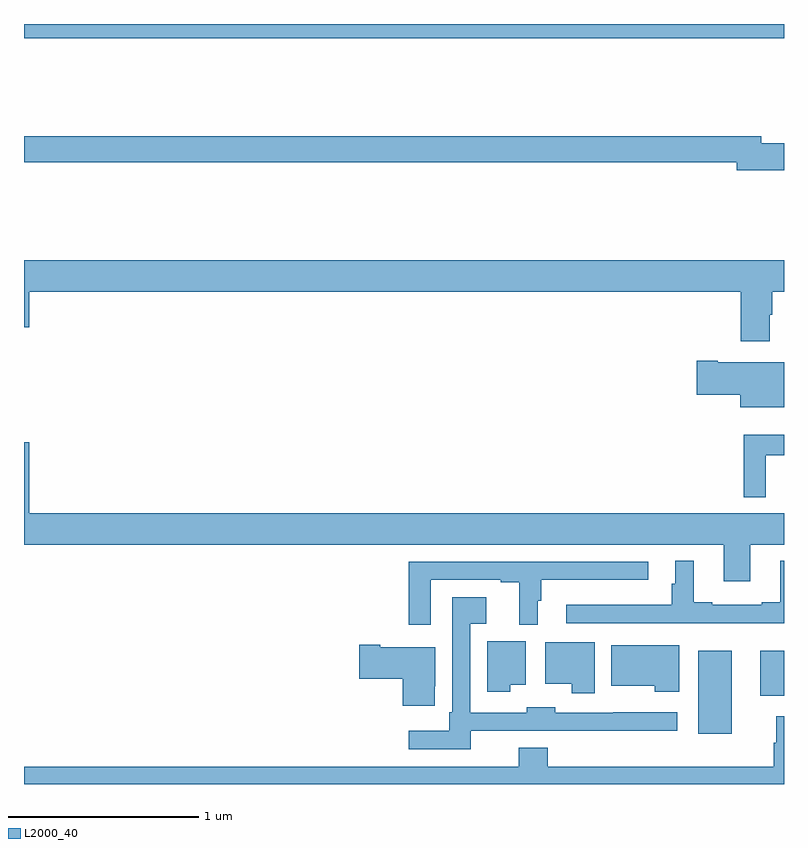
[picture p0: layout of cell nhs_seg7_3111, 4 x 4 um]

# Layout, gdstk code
import gdstk
lib = gdstk.Library(unit=1e-6, precision=1e-09)
def R(c, l, rs):  # rectangles x0, y0, x1, y1
    for r in rs: c.add(gdstk.rectangle(r[:2], r[2:], *l))
def P(c, l, *ps):  # polygons
    for p in ps: c.add(gdstk.Polygon(p, *l))
L2000_40 = (2000, 40)

nhs_seg7_3111 = lib.new_cell('nhs_seg7_3111')
R(nhs_seg7_3111, L2000_40, [(312.548,1022.264,312.724,1022.701), (312.875,1022.465,313,1022.701), (309,1025.924,313,1026)])
P(nhs_seg7_3111, L2000_40, [(313,1025.372),(312.88,1025.372),(312.88,1025.408),(309,1025.408),(309,1025.272),(312.752,1025.272),(312.752,1025.23),(313,1025.23)],
  [(312.925,1024.469),(312.938,1024.469),(312.938,1024.592),(313,1024.592),(313,1024.756),(309,1024.756),(309,1024.404),(309.028,1024.404),(309.028,1024.592),(312.773,1024.592),(312.773,1024.329),(312.925,1024.329)],
  [(313,1024.219),(312.652,1024.219),(312.652,1024.227),(312.54,1024.227),(312.54,1024.049),(312.77,1024.049),(312.77,1023.983),(313,1023.983)],
  [(312.904,1023.729),(313,1023.729),(313,1023.838),(312.787,1023.838),(312.787,1023.509),(312.904,1023.509)],
  [(312.823,1023.26),(313,1023.26),(313,1023.424),(309.028,1023.424),(309.028,1023.799),(309,1023.799),(309,1023.26),(312.683,1023.26),(312.683,1023.066),(312.823,1023.066)],
  [(313,1023.175),(312.98,1023.175),(312.98,1022.956),(312.884,1022.956),(312.884,1022.943),(312.622,1022.943),(312.622,1022.956),(312.526,1022.956),(312.526,1023.175),(312.428,1023.175),(312.428,1023.054),(312.409,1023.054),(312.409,1022.944),(311.853,1022.944),(311.853,1022.847),(312.552,1022.847),(312.552,1022.846),(313,1022.846)],
  [(311.142,1023.075),(311.51,1023.075),(311.51,1023.063),(311.606,1023.063),(311.606,1022.838),(311.704,1022.838),(311.704,1022.964),(311.723,1022.964),(311.723,1023.074),(312.286,1023.074),(312.286,1023.171),(311.026,1023.171),(311.026,1022.838),(311.142,1022.838)],
  [(311.352,1022.279),(312.439,1022.279),(312.439,1022.377),(312.1,1022.377),(312.1,1022.376),(311.796,1022.376),(311.796,1022.404),(311.646,1022.404),(311.646,1022.376),(311.349,1022.376),(311.349,1022.843),(311.434,1022.843),(311.434,1022.983),(311.253,1022.983),(311.253,1022.377),(311.237,1022.377),(311.237,1022.281),(311.025,1022.281),(311.025,1022.184),(311.352,1022.184)],
  [(311.56,1022.522),(311.641,1022.522),(311.641,1022.752),(311.438,1022.752),(311.438,1022.486),(311.56,1022.486)],
  [(312.004,1022.746),(311.744,1022.746),(311.744,1022.528),(311.882,1022.528),(311.882,1022.478),(312.004,1022.478)],
  [(311.163,1022.515),(311.164,1022.515),(311.164,1022.719),(310.876,1022.719),(310.876,1022.732),(310.764,1022.732),(310.764,1022.554),(310.994,1022.554),(310.994,1022.412),(311.163,1022.412)],
  [(312.448,1022.731),(312.092,1022.731),(312.092,1022.516),(312.319,1022.516),(312.319,1022.486),(312.448,1022.486)],
  [(313,1022.356),(312.959,1022.356),(312.959,1022.216),(312.947,1022.216),(312.947,1022.092),(311.756,1022.092),(311.756,1022.191),(311.603,1022.191),(311.603,1022.092),(309,1022.092),(309,1022),(313,1022)])

lib.write_gds('nhs_seg7_3111.gds')
